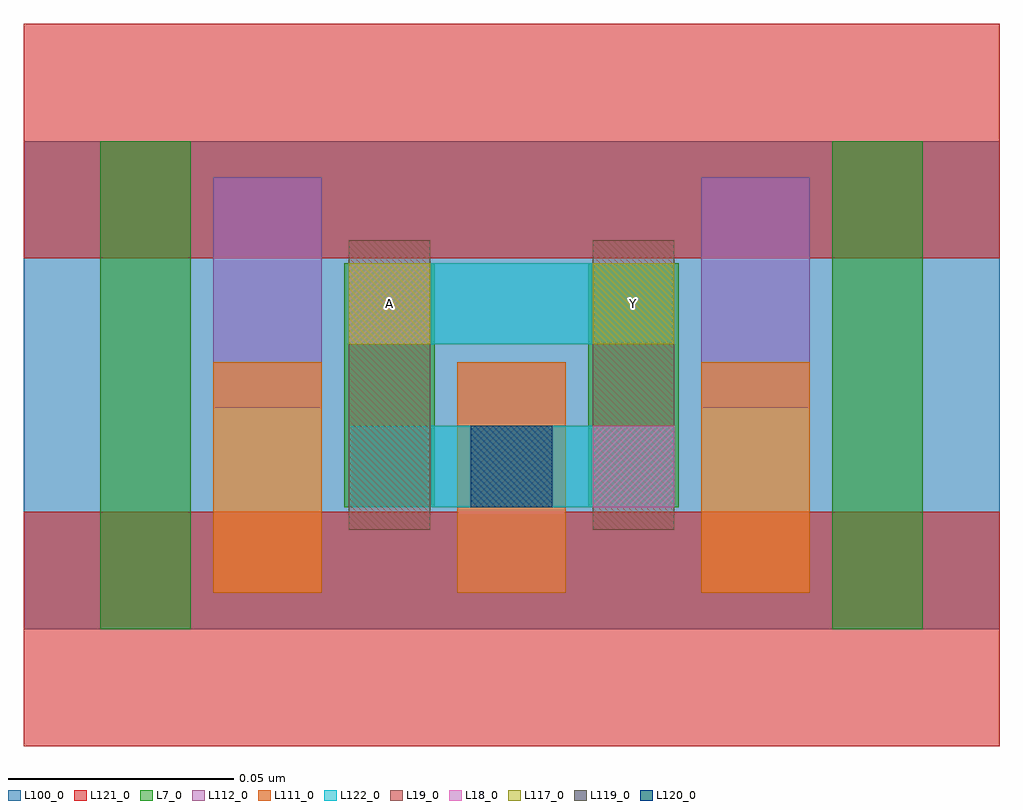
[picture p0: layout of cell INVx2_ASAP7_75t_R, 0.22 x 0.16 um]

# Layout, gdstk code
import gdstk
lib = gdstk.Library(unit=1e-6, precision=2.5e-10)
def R(c, l, rs):  # rectangles x0, y0, x1, y1
    for r in rs: c.add(gdstk.rectangle(r[:2], r[2:], *l))
def A(c, l, x, y, w, h, nx, ny, dx, dy):  # array of equal rectangles
    R(c, l, [(x+i*dx, y+j*dy, x+i*dx+w, y+j*dy+h) for i in range(nx) for j in range(ny)])
L7_0 = (7, 0)
L18_0 = (18, 0)
L19_0 = (19, 0)
L100_0 = (100, 0)
L111_0 = (111, 0)
L112_0 = (112, 0)
L117_0 = (117, 0)
L119_0 = (119, 0)
L120_0 = (120, 0)
L121_0 = (121, 0)
L122_0 = (122, 0)

invx2_asap7_75t_r = lib.new_cell('INVx2_ASAP7_75t_R')
R(invx2_asap7_75t_r, L7_0, [(0.017,0,0.037,0.108), (0.179,0,0.199,0.108), (0.071,0.027,0.091,0.081), (0.125,0.027,0.145,0.081)])
R(invx2_asap7_75t_r, L18_0, [(0.126,0.027,0.144,0.045), (0.072,0.063,0.09,0.081)])
R(invx2_asap7_75t_r, L19_0, [(0.072,0.022,0.09,0.086), (0.126,0.022,0.144,0.086)])
R(invx2_asap7_75t_r, L100_0, [(0,0,0.216,0.108)])
A(invx2_asap7_75t_r, L111_0, 0.042, 0.008, 0.024, 0.051, 3, 1, 0.054, 0)
R(invx2_asap7_75t_r, L112_0, [(0.096,0.008,0.12,0.059), (0.042,0.049,0.066,0.1), (0.15,0.049,0.174,0.1)])
R(invx2_asap7_75t_r, L117_0, [(0.072,0.063,0.09,0.081), (0.126,0.063,0.144,0.081)])
R(invx2_asap7_75t_r, L119_0, [(0.099,0.027,0.117,0.045)])
R(invx2_asap7_75t_r, L120_0, [(0.099,0.027,0.117,0.045)])
R(invx2_asap7_75t_r, L121_0, [(0,-0.026,0.216,0.026), (0,0.082,0.216,0.134)])
R(invx2_asap7_75t_r, L122_0, [(0.072,0.027,0.144,0.045), (0.072,0.063,0.144,0.081)])
invx2_asap7_75t_r.add(gdstk.Label('Y', (0.135,0.072), layer=19, texttype=251))
invx2_asap7_75t_r.add(gdstk.Label('A', (0.081,0.072), layer=19, texttype=251))

lib.write_gds('INVx2_ASAP7_75t_R.gds')
